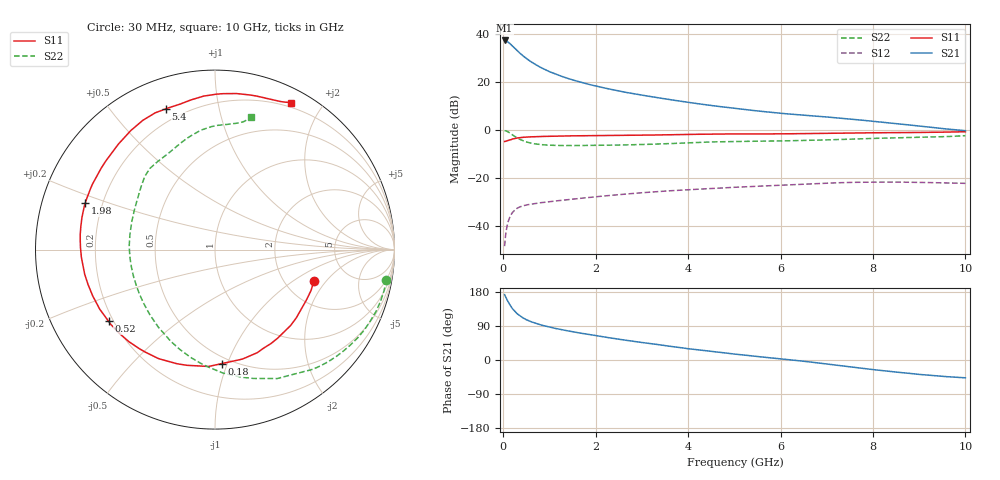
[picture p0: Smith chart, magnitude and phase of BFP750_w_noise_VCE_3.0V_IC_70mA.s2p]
! Infineon Technologies  Discrete & RF Semiconductors
! BFP750
! VCE =  3.0 V,  IC =  70 mA
! Common Emitter S-Parameters:  Jan 2016
# GHz  S  MA  R  50
!  f  S11  S21  S12  S22
! GHz  MAG  ANG  MAG  ANG  MAG  ANG  MAG  ANG
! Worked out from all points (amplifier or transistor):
!   229 points, 30 MHz to 10 GHz, reference 50 ohm
!   highest |S21| = 37.4 dB at 30 MHz (marker M1)
!   |S21| within 3 dB of that: start of sweep to 236.1 MHz
!   unconditionally stable (mu >= 1): 3.638 GHz to end of sweep
!   at 280 MHz: K = 0.19, MSG = 33.2 dB, |S12| = -32.9 dB
!   at 1.78 GHz: K = 0.75, MSG = 23.8 dB, |S12| = -28.2 dB
!   at 10 GHz: K = 1.04, MAG = 9.7 dB, |S12| = -22.2 dB
!   lowest NFmin = 1.24 dB at 450 MHz
!   S11 on the Smith chart (normalised r, x): 30 MHz: 2.88, -1.50; 180 MHz: 0.45, -0.96; 520 MHz: 0.18, -0.30; 1.98 GHz: 0.13, +0.17; 5.4 GHz: 0.14, +0.70; 10 GHz: 0.15, +1.63
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0.03  0.5783 -17.4  73.76 172.4  0.0038 84.1  0.9695 -9.9
0.05  0.5816 -29.0  73.33 166.7  0.0062 78.9  0.9663 -17.4
0.1  0.6043 -54.7  68.81 154.9  0.0118 68.4  0.9231 -35.1
0.15  0.6288 -76.0  62.9 144.3  0.016 59.5  0.8614 -50.7
0.18  0.636 -86.4  58.87 139.2  0.0179 55.1  0.8174 -58.6
0.2  0.6521 -93.1  56.47 135.4  0.0192 52.7  0.7975 -64.3
0.26  0.6703 -108.4  49.6 127.3  0.0219 46.1  0.7278 -77.9
0.3  0.6839 -117.3  45.45 122.3  0.0234 42.7  0.6897 -86.2
0.34  0.6906 -124.1  41.8 118.5  0.0245 40.0  0.6556 -93.2
0.4  0.7023 -133.1  37.12 113.1  0.0258 36.7  0.6155 -102.8
0.52  0.7149 -146.0  30.11 105.4  0.0276 32.6  0.5589 -117.9
0.7  0.7286 -159.3  23.09 96.7  0.0296 29.4  0.5138 -134.8
1  0.7415 -173.4  16.51 86.8  0.0321 27.5  0.4841 -153.4
1.3  0.7518 176.7  12.81 79.1  0.0346 27.0  0.4761 -165.9
1.7  0.7627 166.4  9.807 70.4  0.038 26.5  0.4764 -178.0
1.98  0.7683 160.2  8.38 64.7  0.0405 26.0  0.4789 175.1
3.4  0.7927 134.3  4.624 39.7  0.0527 20.3  0.5138 147.7
5.1  0.831 112.5  2.77 14.5  0.0647 10.5  0.5804 127.5
5.4  0.8306 109.2  2.567 10.5  0.0667 8.5  0.5839 124.0
6.8  0.8516 96.2  1.938 -7.5  0.0769 -1.4  0.617 109.4
8.4  0.8831 77.4  1.394 -30.5  0.0824 -16.9  0.6856 91.6
10  0.9222 62.7  0.97 -47.0  0.0775 -28.6  0.7635 74.6
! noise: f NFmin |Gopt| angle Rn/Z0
0.45  1.24  0.23  -168  0.46
0.9  1.26  0.33  -162  0.18
1.5  1.28  0.43  -155  0.09
1.9  1.29  0.45  -149  0.08
2.4  1.29  0.45  -142  0.1
3.5  1.53  0.45  -126  0.13
